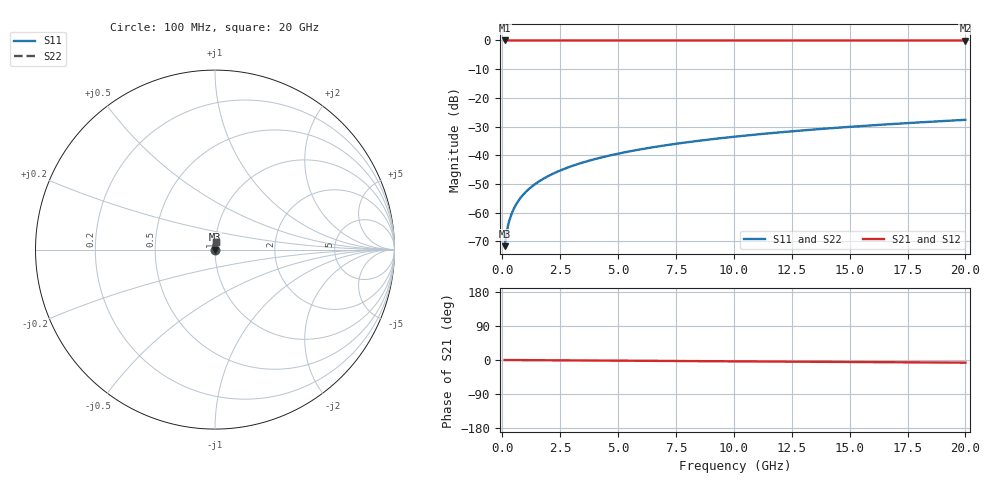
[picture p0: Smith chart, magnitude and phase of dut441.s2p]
! Touchstone file exported from HFSS 2026.1.0
!  File:  C:/ffzhzh/LocalFiles/Ansys_Project_Files/temp_train_TSV_441_1783021461_53980.aedt
!  Generated:  03:46:22 AM Jul  3, 2026
!  Design:  TSV
!  Project:  temp_train_TSV_441_1783021461_53980
! Variables:
!  h_bsmrdl = 2um
!  h_ox = 20um
!  h_rdl = 5um
!  h_sub = 58.13um
!  h_tmrdl = 5um
!  h_tsv = 58.13um
!  h_via = 3um
!  l_bsmrdl = 300um
!  l_sub = 419.22um
!  l_tmrdl = 200um
!  m_sub = 200um
!  pitch = 58.53um
!  r_tsv = 9.61um
!  s_tmrdl = 10um
!  w_bsmrdl = 18um
!  w_sub = 500um
!  w_tmrdl = 12um
!  x_tsv_center1 = 206um
!  x_tsv_center2 = 524um
!  x_tsv_center3 = 736um
!  x_tsv_center4 = 1054um
!  x_tsv_center5 = 1266um
!  x_tsv_center6 = 1584um
# GHz S MA R 50.000000
! Terminal data exported
! Port[1] = TSV1_1_T1
! Port[2] = TSV1_1_T2
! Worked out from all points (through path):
!   200 points, 100 MHz to 20 GHz, reference 50 ohm
!   highest |S21| = 0.00 dB at 100 MHz (marker M1); lowest = 0.0 dB at 20 GHz (marker M2)
!   lowest |S11| = -71.7 dB at 100 MHz (marker M3), VSWR 1.00, Z = 50 + j0.0239 ohm
!   |S11| at or under -10 dB: start of sweep to end of sweep
!   |S22| runs from -71.7 to -27.7 dB; largest |S21 - S12| = 3.7e-15
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0.1  0.0002609 66.4  0.9999 -0.0  0.9999 -0.0  0.0002609 66.4
! Gamma 0 0 0 0
! Port Impedance 50 0 50 0
0.2  0.0004895 76.6  0.9999 -0.1  0.9999 -0.1  0.0004895 76.6
0.3  0.0007213 79.9  0.9999 -0.1  0.9999 -0.1  0.0007213 79.9
0.4  0.0009508 81.4  0.9999 -0.1  0.9999 -0.1  0.0009508 81.4
0.5  0.001177 82.2  0.9998 -0.2  0.9998 -0.2  0.001177 82.2
0.6  0.0014 82.6  0.9998 -0.2  0.9998 -0.2  0.0014 82.6
0.7  0.001619 83.0  0.9998 -0.3  0.9998 -0.3  0.001619 83.0
0.8  0.001836 83.3  0.9998 -0.3  0.9998 -0.3  0.001836 83.3
1  0.002265 83.7  0.9998 -0.4  0.9998 -0.4  0.002265 83.7
1.4  0.003113 84.4  0.9997 -0.5  0.9997 -0.5  0.003113 84.4
1.7  0.003745 84.8  0.9997 -0.6  0.9997 -0.6  0.003745 84.8
2  0.004377 85.1  0.9997 -0.7  0.9997 -0.7  0.004377 85.1
2.7  0.00585 85.5  0.9996 -1.0  0.9996 -1.0  0.00585 85.5
3.5  0.00753 85.7  0.9996 -1.2  0.9996 -1.2  0.00753 85.7
4.2  0.008996 85.7  0.9995 -1.5  0.9995 -1.5  0.008996 85.7
5  0.01067 85.6  0.9995 -1.8  0.9995 -1.8  0.01067 85.6
6.8  0.0144 85.3  0.9993 -2.4  0.9993 -2.4  0.0144 85.3
8.3  0.0175 85.0  0.9992 -2.9  0.9992 -2.9  0.0175 85.0
10.1  0.02121 84.6  0.9991 -3.5  0.9991 -3.5  0.02121 84.6
13.4  0.02799 83.7  0.9988 -4.7  0.9988 -4.7  0.02799 83.7
16.7  0.03473 82.7  0.9985 -5.8  0.9985 -5.8  0.03473 82.7
20  0.04142 81.7  0.9982 -7.0  0.9982 -7.0  0.04142 81.7
